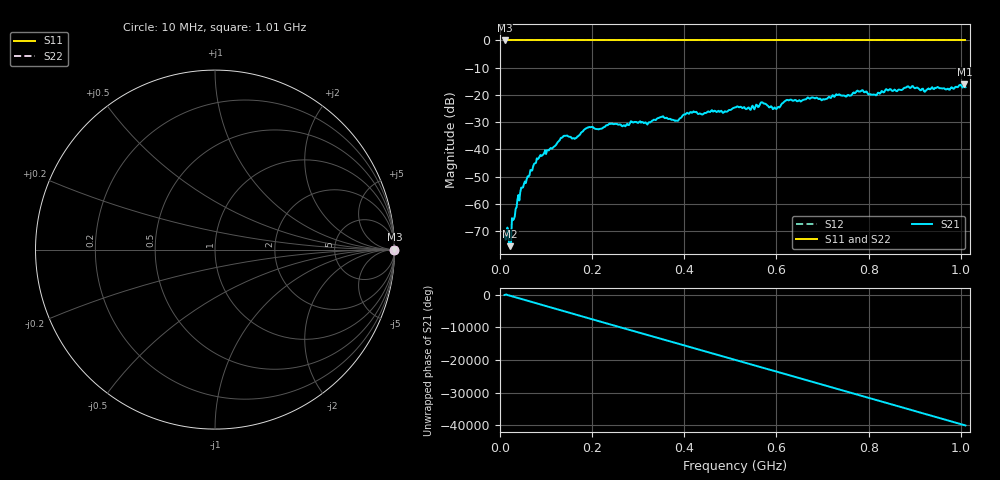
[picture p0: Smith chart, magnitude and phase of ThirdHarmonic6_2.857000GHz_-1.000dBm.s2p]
! 8/17/2025 7:46:05 AM
! C:\ANRITSUVNA\TEMP\TEMP.S2P
! CHANNEL.1
! TR.MEASUREMENT
! RAW.DATA
! RF.CORRECTION.OFF
! AVERAGING.OFF
! IF.BANDWIDTH: 5KHZ
! SWEEPTYPE:  FREQ.SWEEP(Linear)
! Reference Plane Port Info
! PORT:  PORT1  PORT2
! DISTANCE:  0  m  0  m
! TIME:  0  s  0  s
! PHASE.OFFSET:  0  deg.  0  deg.
! LOSS:  0  dB  0  dB
! REF.LOSS:  0  dB  0  dB
! REF.FREQ:  0  Hz  0  Hz
! Power Info
! POWER:  -20  dBm  -20  dBm
! EFF.POWER:  -20  dBm  -20  dBm
! SOURCE.ATTEN:  0  dB  0  dB
! TEST.ATTEN:  0  dB  0  dB
# GHZ S RI R 50.0
! FREQ.GHZ  S11RE  S11IM  S21RE  S21IM  S12RE  S12IM  S22RE  S22IM
!; PortSelection: Port_12
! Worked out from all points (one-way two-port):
!   501 points, 10 MHz to 1.01 GHz, reference 50 ohm
!   highest |S21| = -16.08 dB at 1.008 GHz (marker M1); lowest = -75.5 dB at 22 MHz (marker M2)
!   lowest |S11| = 0.0 dB at 10 MHz (marker M3)
!   |S11| at or under -10 dB: nowhere
!   |S22| runs from 0.0 to 0.0 dB; largest |S21 - S12| = 1.1
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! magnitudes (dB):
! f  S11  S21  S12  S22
! 10 MHz  0.0  -71.5  0.0  0.0
! 22 MHz  0.0  -75.5  0.0  0.0
! 42 MHz  0.0  -58.7  0.0  0.0
! 84 MHz  0.0  -43.2  0.0  0.0
! 136 MHz  0.0  -35.5  0.0  0.0
! 162 MHz  0.0  -36.1  0.0  0.0
! 178 MHz  0.0  -33.6  0.0  0.0
! 194 MHz  0.0  -31.7  0.0  0.0
! 344 MHz  0.0  -28.5  0.0  0.0
! 384 MHz  0.0  -29.5  0.0  0.0
! 416 MHz  0.0  -26.6  0.0  0.0
! 510 MHz  0.0  -24.6  0.0  0.0
! 540 MHz  0.0  -24.6  0.0  0.0
! 570 MHz  0.0  -22.8  0.0  0.0
! 596 MHz  0.0  -24.6  0.0  0.0
! 622 MHz  0.0  -21.8  0.0  0.0
! 678 MHz  0.0  -20.9  0.0  0.0
! 784 MHz  0.0  -18.5  0.0  0.0
! 814 MHz  0.0  -19.9  0.0  0.0
! 844 MHz  0.0  -18.2  0.0  0.0
! 1.008 GHz  0.0  -16.1  0.0  0.0
! 1.01 GHz  0.0  -17.2  0.0  0.0
